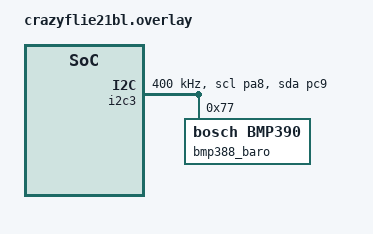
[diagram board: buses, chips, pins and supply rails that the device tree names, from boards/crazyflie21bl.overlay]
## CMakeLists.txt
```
cmake_minimum_required(VERSION 3.20.0)

# Out-of-tree board definitions (crazyflie21bl).  Must be before find_package.
list(APPEND BOARD_ROOT ${CMAKE_CURRENT_SOURCE_DIR}/../../tapestry-scr-hw)

# tapestry-os/dts/bindings/ holds custom DTS bindings.
list(APPEND DTS_ROOT ${CMAKE_CURRENT_SOURCE_DIR}/../../tapestry-os)

# boards/crazyflie21bl.overlay in this directory is auto-applied by Zephyr.
# It contains only I2C3 + BMP388 (no BMI088 nodes, so the bmi08x driver is
# not pulled in and the Zephyr 4.4.0-rc1 rtio_bus compile bug is avoided).

find_package(Zephyr REQUIRED HINTS $ENV{ZEPHYR_BASE})
project(tapestry_baro_test)

set(TAPESTRY_OS_BOARDS ${CMAKE_CURRENT_SOURCE_DIR}/../../tapestry-os/boards)

target_sources(app PRIVATE
    src/main.c
    # IWDG: Bitcraze bootloader arms the watchdog; without this the board
    # resets after ~32 s.  The timer in cf21bl_iwdg.c kicks it every 10 s.
    ${TAPESTRY_OS_BOARDS}/crazyflie21bl/cf21bl_iwdg.c
    # CRTP log backend: routes Zephyr LOG_* to nRF51 → crazyradio2 → crazyflie_console.py
    ${TAPESTRY_OS_BOARDS}/crazyflie21bl/cf21bl_crtp_log.c
    ${TAPESTRY_OS_BOARDS}/crazyflie21bl/cf21bl_syslink_tx.c
)

target_include_directories(app PRIVATE
    ${TAPESTRY_OS_BOARDS}/crazyflie21bl
)
```

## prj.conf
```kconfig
CONFIG_LOG=y
CONFIG_LOG_DEFAULT_LEVEL=3
CONFIG_PRINTK=y

CONFIG_FPU=y
CONFIG_FPU_SHARING=y

# BMP388 barometer on I2C3
CONFIG_SENSOR=y
CONFIG_I2C=y
CONFIG_BMP388=y
```

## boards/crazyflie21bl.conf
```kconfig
# Log output: USB CDC ACM (primary) and wired USART3 (fallback).
CONFIG_LOG_OUTPUT=y
CONFIG_LOG_BACKEND_SHOW_COLOR=n
```

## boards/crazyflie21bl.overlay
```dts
/*
 * baro-test board overlay — I2C3 + BMP388 only.
 *
 * Deliberately excludes the BMI088 nodes that appear in the shared
 * crazyflie21bl.overlay.  Including them here would cause Zephyr to
 * auto-enable the bmi08x driver, which hits a compile bug in Zephyr
 * 4.4.0-rc1 (BMI08X_CREATE_INST references .rtio_bus unconditionally
 * but the field only exists when CONFIG_SENSOR_ASYNC_API=y).
 * The baro-test has no need for the IMU driver at all.
 *
 * Pin assignments confirmed against CF2.1 brushless schematic Rev.G:
 *   I2C3 SCL = PA8 (IMU_SCL), SDA = PC9 (IMU_SDA)
 *   BMP388 SDO = GND → I2C address 0x76.
 *   If first boot says "not ready", try reg = <0x77> (SDO pulled high).
 */

&i2c3 {
	pinctrl-0 = <&i2c3_scl_pa8 &i2c3_sda_pc9>;
	pinctrl-names = "default";
	clock-frequency = <I2C_BITRATE_FAST>;
	status = "okay";

	bmp388_baro: bmp390@77 {
		compatible = "bosch,bmp390";
		reg = <0x77>;
		odr = "50";
		osr-press = <8>;
		osr-temp = <1>;
		iir-filter = <3>;
	};
};
```

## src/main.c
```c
/*
 * baro-test — BMP388 barometer bring-up (sensor-only, no actuation)
 *
 * Reads BMP388 pressure via I2C3, converts to altitude relative to boot,
 * and logs at 5 Hz.  Lift the board to see altitude increase.
 *
 * No IMU, no motors, no CRTP — console is USB CDC ACM on PA11/PA12.
 *
 * Build:  west build -p always -b crazyflie21bl tapestry/tapestry/examples/baro-test
 * Flash:  cfloader flash build/zephyr/zephyr.bin stm32-dfu  (activate .venv)
 * Read:   minicom -D /dev/ttyUSB0 -b 115200       (wired USART3 on PC10/PC11)
 *   or:   python3 tapestry/tapestry-os/tools/crazyflie_console.py  (CRTP radio via crazyradio2)
 */

#include <zephyr/kernel.h>
#include <zephyr/drivers/sensor.h>
#include <zephyr/logging/log.h>

LOG_MODULE_REGISTER(baro_test, LOG_LEVEL_INF);

/* 11.77 Pa per meter at sea level (standard atmosphere linear approximation).
 * Accurate to ±1% for altitude changes up to a few hundred meters. */
#define PA_PER_M   11.77f

/* Number of readings averaged to establish the home baseline. */
#define BASELINE_SAMPLES  20

static const struct device *const baro = DEVICE_DT_GET(DT_NODELABEL(bmp388_baro));

int main(void)
{
    if (!device_is_ready(baro)) {
        LOG_ERR("BMP388 not ready — check overlay address (0x76?) and I2C3 wiring");
        return -ENODEV;
    }

    LOG_INF("=== BMP388 baro test (sensor-only, no actuation) ===");

    /* Establish home baseline from first BASELINE_SAMPLES readings. */
    float p_home = 0.0f;
    for (int n = 0; n < BASELINE_SAMPLES; n++) {
        sensor_sample_fetch(baro);
        struct sensor_value pres;
        sensor_channel_get(baro, SENSOR_CHAN_PRESS, &pres);
        p_home += sensor_value_to_float(&pres) * 1000.0f;  /* kPa → Pa */
        k_msleep(20);   /* BMP388 at 50 Hz ODR: new sample every 20 ms */
    }
    p_home /= (float)BASELINE_SAMPLES;
    LOG_INF("Home baseline: %.1f Pa  (lift board to see altitude increase)", (double)p_home);

    while (true) {
        sensor_sample_fetch(baro);

        struct sensor_value pres, temp;
        sensor_channel_get(baro, SENSOR_CHAN_PRESS, &pres);
        sensor_channel_get(baro, SENSOR_CHAN_AMBIENT_TEMP, &temp);

        float p_Pa  = sensor_value_to_float(&pres) * 1000.0f;  /* kPa → Pa */
        float alt_m = (p_home - p_Pa) / PA_PER_M;
        float t_c   = sensor_value_to_float(&temp);

        LOG_INF("press=%.1f Pa  alt=%+.3f m  temp=%.1f C",
                (double)p_Pa, (double)alt_m, (double)t_c);

        k_msleep(200);   /* 5 Hz — readable on console */
    }

    return 0;
}
```
